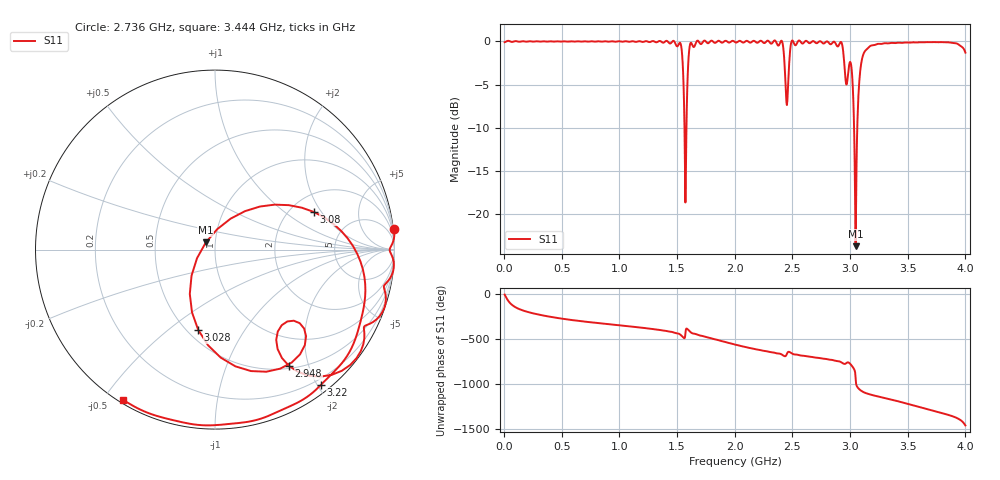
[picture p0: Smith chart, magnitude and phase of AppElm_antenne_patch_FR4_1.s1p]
! TOUCHSTONE file generated by CST MICROWAVE STUDIO
! Date and time: Tue Jun  7 21:11:30 2022
! Project name: AppElm_antenne_patch_FR4.cst
! Parameters = {L=45; W=58.5; e=0.035; h=1.6; lambda=0.190476; ls=120; w0=1.6; w1=0.533333; ws=90; y0=20; y1=23.81}
! Header version: 2018
! Port assignment regex: !\s*Touchstone port\s*([0-9]+)\s*=\s*(CST MWS port|CST DS port)\s*([0-9]+|Zmin|Zmax)\s*\(\"(.*)\"\)(\s*mode\s*([0-9]+))?.*
! Touchstone port assignment:
! Touchstone port 1 = CST MWS port 1 ("")
# GHz S MA R 50
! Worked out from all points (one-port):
!   1000 points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, 4 MHz to 4 GHz, reference 50 ohm
!   lowest |S11| = -23.8 dB at 3.048 GHz (marker M1), VSWR 1.14, Z = 45 + j3.61 ohm
!   |S11| at or under -10 dB: 1.564 GHz to 1.581 GHz (17.12 MHz wide, 1.09 % of centre); 3.034 GHz to 3.062 GHz (28.05 MHz wide, 0.92 % of centre)
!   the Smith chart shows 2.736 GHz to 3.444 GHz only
!   S11 on the Smith chart (normalised r, x): 2.736 GHz: -0, +18; 2.948 GHz: 0.53, -1.69; 3.028 GHz: 0.57, -0.64; 3.08 GHz: 2.65, +1.70; 3.22 GHz: 0.11, -2.05; 3.444 GHz: 0.01, -0.56
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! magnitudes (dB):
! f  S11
! 4 MHz  -0.1
! 504 MHz  0.0
! 1.004 GHz  0.0
! 1.504 GHz  -0.6
! 1.536 GHz  -0.6
! 1.56 GHz  -7.2
! 1.572 GHz  -18.7
! 1.588 GHz  -5.5
! 1.604 GHz  -1.1
! 1.624 GHz  -0.2
! 2.004 GHz  -0.1
! 2.4 GHz  0.0
! 2.452 GHz  -7.4
! 2.504 GHz  0.1
! 2.736 GHz  0.0
! 2.916 GHz  -0.1
! 2.948 GHz  -2.3
! 3.004 GHz  -2.4
! 3.016 GHz  -3.6
! 3.028 GHz  -6.8
! 3.048 GHz  -23.8
! 3.064 GHz  -9.2
! 3.08 GHz  -4.6
! 3.12 GHz  -1.3
! 3.22 GHz  -0.4
! 3.444 GHz  -0.2
! 3.504 GHz  -0.1
! 4 GHz  -1.3
